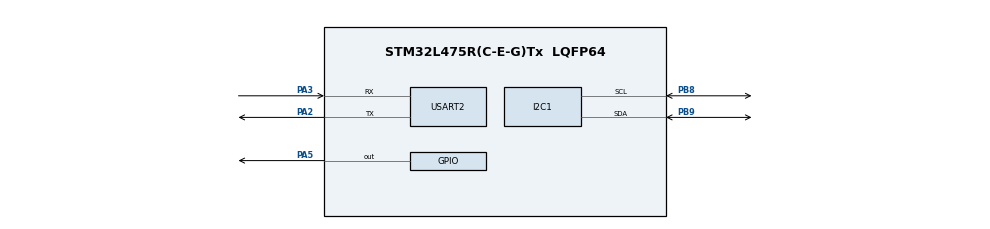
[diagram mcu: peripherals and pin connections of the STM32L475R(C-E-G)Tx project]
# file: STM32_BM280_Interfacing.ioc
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Mcu.Family=STM32L4
Mcu.Name=STM32L475R(C-E-G)Tx
Mcu.Package=LQFP64
NVIC.PriorityGroup=NVIC_PRIORITYGROUP_4
PA2.Mode=Asynchronous
PA2.Signal=USART2_TX
PA3.Mode=Asynchronous
PA3.Signal=USART2_RX
PA5.Signal=GPIO_Output
PB8.Mode=I2C
PB8.Signal=I2C1_SCL
PB9.Mode=I2C
PB9.Signal=I2C1_SDA
ProjectManager.HeapSize=0x200
ProjectManager.StackSize=0x400
ProjectManager.TargetToolchain=STM32CubeIDE
RCC.HSE_VALUE=8000000
RCC.HSI_VALUE=16000000
RCC.LSE_VALUE=32768
RCC.MSI_VALUE=4000000
RCC.VCOOutputFreq_Value=32000000
USART2.VirtualMode-Asynchronous=VM_ASYNC
board=custom

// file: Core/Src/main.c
/* USER CODE BEGIN Header */
/**
  ******************************************************************************
  * @file           : main.c
  * @brief          : Main program body
  ******************************************************************************
  * @attention
  *
  * Copyright (c) 2022 STMicroelectronics.
  * All rights reserved.
  *
  * This software is licensed under terms that can be found in the LICENSE file
  * in the root directory of this software component.
  * If no LICENSE file comes with this software, it is provided AS-IS.
  *
  ******************************************************************************
  */
/* USER CODE END Header */
#include "main.h"
#include "stdio.h"
#include "string.h"

 I2C_HandleTypeDef hi2c1;

UART_HandleTypeDef huart2;

/* USER CODE BEGIN PV */
static const uint8_t BMP280_Addr= 0x76<<1 ; // 7-Bit device address
uint8_t cmd[2]; //I2c Command

int32_t rawtemp;		//To Combined register raw values
float  temperature;		//Final Temperature value
uint8_t temp_buffer[3]; //buffer to receive data
uint16_t dig_T1,dig_T2,dig_T3; //Calibration variables
/* USER CODE END PV */

void SystemClock_Config(void);
static void MX_GPIO_Init(void);
static void MX_I2C1_Init(void);
static void MX_USART2_UART_Init(void);
/* USER CODE BEGIN PFP */
int32_t compTemp(int32_t adc_T);

/* USER CODE END PFP */

int main(void)
{

  /* MCU Configuration--------------------------------------------------------*/

  /* Reset of all peripherals, Initializes the Flash interface and the Systick. */
  HAL_Init();

  /* Configure the system clock */
  SystemClock_Config();

  /* Initialize all configured peripherals */
  MX_GPIO_Init();
  MX_I2C1_Init();
  MX_USART2_UART_Init();
  /* USER CODE BEGIN 2 */

 if(HAL_I2C_IsDeviceReady(&hi2c1,BMP280_Addr,2,10)==HAL_OK)
  {
	 //Detect Sensor on i2c bus
	 uint8_t Ack[]="BMP280_Detected_on_i2c1\n";
	  HAL_UART_Transmit(&huart2,Ack,sizeof(Ack),HAL_MAX_DELAY);
	  HAL_GPIO_WritePin(GPIOA,GPIO_PIN_5, SET);

	  //Read Calibration Values
	  cmd[0]=0x88;
	  if(HAL_I2C_Master_Transmit(&hi2c1,BMP280_Addr,cmd,1, HAL_MAX_DELAY)==HAL_OK)
	  {
		  uint8_t buffer[6];

		  if(HAL_I2C_Master_Receive(&hi2c1, BMP280_Addr, buffer, 6, HAL_MAX_DELAY)==HAL_OK)
		  {

			  dig_T1 = buffer[0] | (buffer[1] << 8);
			  dig_T2 = buffer[2] | (buffer[3] << 8);
			  dig_T3 = buffer[4] | (buffer[5] << 8);

			  uint8_t Ack[]="Calibration_Values_Received\n";
			  HAL_UART_Transmit(&huart2,Ack,sizeof(Ack),HAL_MAX_DELAY);
		  }

	  }
	  else
	  {
		  uint8_t Ack[]="Failed_to_Received_Calibration_Values\n";
		  HAL_UART_Transmit(&huart2,Ack,sizeof(Ack),HAL_MAX_DELAY);

	  }

	  //Set Temp over sampling and power on chip
	  cmd[0]=0xf4;//Register address
	  cmd[1]=0x27;//data to send;
	  if(HAL_I2C_Master_Transmit(&hi2c1,BMP280_Addr,cmd,2, HAL_MAX_DELAY)==HAL_OK)
	  {
		  uint8_t Ack[]="Chip_Config_done\n";
		  HAL_UART_Transmit(&huart2,Ack,sizeof(Ack),HAL_MAX_DELAY);
	  }

  }
  else
  {
	  uint8_t Ack[]="BMP280_Not_Detected\n";
	  HAL_UART_Transmit(&huart2,Ack,sizeof(Ack),HAL_MAX_DELAY);
  }

  /* USER CODE END 2 */

  /* Infinite loop */
  while (1)
  {

	  cmd[0]=0xFA; //Temperature values register

	//Reading Temperature
	if(HAL_I2C_Master_Transmit(&hi2c1,BMP280_Addr,cmd,1, HAL_MAX_DELAY)==HAL_OK)
	  {

		if(HAL_I2C_Master_Receive(&hi2c1, BMP280_Addr, temp_buffer, 3, HAL_MAX_DELAY)==HAL_OK)
		  {

			  rawtemp = ((uint32_t) temp_buffer[0] << 12) | ((uint32_t) temp_buffer[1] << 4) | ((uint32_t) temp_buffer[2] >> 4);
		      temperature = compTemp(rawtemp);

		      uint8_t temp_string[100];
		      sprintf(temp_string,"Temperature is :%0.2f C\n",temperature/100.00);
			  HAL_UART_Transmit(&huart2,temp_string,strlen(temp_string),HAL_MAX_DELAY);

		  }

	  }
	else

	{
		uint8_t Ack[]="Failed_to_Read_Temperature\n";
		HAL_UART_Transmit(&huart2,Ack,sizeof(Ack),HAL_MAX_DELAY);
	}

		HAL_Delay(3000);

  }
}

void SystemClock_Config(void)
{
  RCC_OscInitTypeDef RCC_OscInitStruct = {0};
  RCC_ClkInitTypeDef RCC_ClkInitStruct = {0};

  /** Configure the main internal regulator output voltage
  */
  if (HAL_PWREx_ControlVoltageScaling(PWR_REGULATOR_VOLTAGE_SCALE1) != HAL_OK)
  {
    Error_Handler();
  }

  /** Initializes the RCC Oscillators according to the specified parameters
  * in the RCC_OscInitTypeDef structure.
  */
  RCC_OscInitStruct.OscillatorType = RCC_OSCILLATORTYPE_MSI;
  RCC_OscInitStruct.MSIState = RCC_MSI_ON;
  RCC_OscInitStruct.MSICalibrationValue = 0;
  RCC_OscInitStruct.MSIClockRange = RCC_MSIRANGE_6;
  RCC_OscInitStruct.PLL.PLLState = RCC_PLL_NONE;
  if (HAL_RCC_OscConfig(&RCC_OscInitStruct) != HAL_OK)
  {
    Error_Handler();
  }

  /** Initializes the CPU, AHB and APB buses clocks
  */
  RCC_ClkInitStruct.ClockType = RCC_CLOCKTYPE_HCLK|RCC_CLOCKTYPE_SYSCLK
                              |RCC_CLOCKTYPE_PCLK1|RCC_CLOCKTYPE_PCLK2;
  RCC_ClkInitStruct.SYSCLKSource = RCC_SYSCLKSOURCE_MSI;
  RCC_ClkInitStruct.AHBCLKDivider = RCC_SYSCLK_DIV1;
  RCC_ClkInitStruct.APB1CLKDivider = RCC_HCLK_DIV1;
  RCC_ClkInitStruct.APB2CLKDivider = RCC_HCLK_DIV1;

  if (HAL_RCC_ClockConfig(&RCC_ClkInitStruct, FLASH_LATENCY_0) != HAL_OK)
  {
    Error_Handler();
  }
}

static void MX_I2C1_Init(void)
{

  hi2c1.Instance = I2C1;
  hi2c1.Init.Timing = 0x00000E14;
  hi2c1.Init.OwnAddress1 = 0;
  hi2c1.Init.AddressingMode = I2C_ADDRESSINGMODE_7BIT;
  hi2c1.Init.DualAddressMode = I2C_DUALADDRESS_DISABLE;
  hi2c1.Init.OwnAddress2 = 0;
  hi2c1.Init.OwnAddress2Masks = I2C_OA2_NOMASK;
  hi2c1.Init.GeneralCallMode = I2C_GENERALCALL_DISABLE;
  hi2c1.Init.NoStretchMode = I2C_NOSTRETCH_DISABLE;
  if (HAL_I2C_Init(&hi2c1) != HAL_OK)
  {
    Error_Handler();
  }

  /** Configure Analogue filter
  */
  if (HAL_I2CEx_ConfigAnalogFilter(&hi2c1, I2C_ANALOGFILTER_ENABLE) != HAL_OK)
  {
    Error_Handler();
  }

  /** Configure Digital filter
  */
  if (HAL_I2CEx_ConfigDigitalFilter(&hi2c1, 0) != HAL_OK)
  {
    Error_Handler();
  }

}

static void MX_USART2_UART_Init(void)
{

  huart2.Instance = USART2;
  huart2.Init.BaudRate = 115200;
  huart2.Init.WordLength = UART_WORDLENGTH_8B;
  huart2.Init.StopBits = UART_STOPBITS_1;
  huart2.Init.Parity = UART_PARITY_NONE;
  huart2.Init.Mode = UART_MODE_TX_RX;
  huart2.Init.HwFlowCtl = UART_HWCONTROL_NONE;
  huart2.Init.OverSampling = UART_OVERSAMPLING_16;
  huart2.Init.OneBitSampling = UART_ONE_BIT_SAMPLE_DISABLE;
  huart2.AdvancedInit.AdvFeatureInit = UART_ADVFEATURE_NO_INIT;
  if (HAL_UART_Init(&huart2) != HAL_OK)
  {
    Error_Handler();
  }

}

static void MX_GPIO_Init(void)
{
  GPIO_InitTypeDef GPIO_InitStruct = {0};

  /* GPIO Ports Clock Enable */
  __HAL_RCC_GPIOA_CLK_ENABLE();
  __HAL_RCC_GPIOB_CLK_ENABLE();

  /*Configure GPIO pin Output Level */
  HAL_GPIO_WritePin(GPIOA, GPIO_PIN_5, GPIO_PIN_RESET);

  /*Configure GPIO pin : PA5 */
  GPIO_InitStruct.Pin = GPIO_PIN_5;
  GPIO_InitStruct.Mode = GPIO_MODE_OUTPUT_PP;
  GPIO_InitStruct.Pull = GPIO_NOPULL;
  GPIO_InitStruct.Speed = GPIO_SPEED_FREQ_LOW;
  HAL_GPIO_Init(GPIOA, &GPIO_InitStruct);

}

/* USER CODE BEGIN 4 */
int32_t compTemp(int32_t adc_T){
    int32_t var1, var2,t_fine, T;
    var1 = ((((adc_T >> 3) - ((int32_t) dig_T1 << 1))) * ((int32_t) dig_T2)) >> 11;
    var2 = (((((adc_T >> 4) - ((int32_t) dig_T1)) * ((adc_T >> 4) - ((int32_t) dig_T1))) >> 12) * ((int32_t) dig_T3)) >> 14;

    t_fine = var1 + var2;
    T = (t_fine * 5 + 128) >> 8;
    return T;
}

/* USER CODE END 4 */

void Error_Handler(void)
{
  __disable_irq();
  while (1)
  {
  }
}
